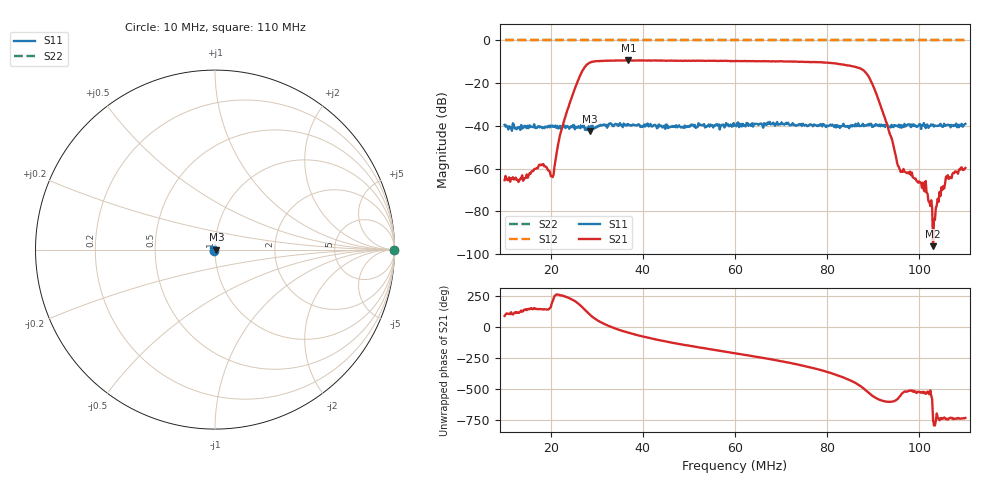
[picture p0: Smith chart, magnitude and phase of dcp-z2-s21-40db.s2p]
! Anritsu VNA Master:  Model: MS2034B/10/19/501
! SN:  1337062
! /bd0/ovro-jan-2016/dcp-z2-s21-40db.s2p
! Existing Calibration Information:
! TYPE:  Current Settings,  Active Cal Settings
! TIME:  01/08/2016 09:27:31 PM,  01/08/2016 08:43:08 PM
! INTERNAL TEMP:  42.5 C,  45.0 C
! # POINTS:  500,  500
! START FREQ:  10.000 MHz,  10.000 MHz
! STOP FREQ:  110.000 MHz,  110.000 MHz
! SOURCE POWER:  Low,  Low
! IFBW:  100 Hz,  100 Hz
! AVG FACTOR:  3 ,  3
! REF PLANE 1:  2.2245 m,  2.2245 m
! REF PLANE 2:  0 mm,  0 mm
! CAL TYPE:  1P2P S11,S21,  1P2P S11,S21
! CAL METHOD:  SOLT,  SOLT
! CAL LINE TYPE:  Coax,  Coax
! DUT PORT 1:  K-Conn(M),  K-Conn(M)
! DUT PORT 2:  N-Conn(M),  N-Conn(M)
! CAL STATUS:  OK: Accuracy High,  --
# GHZ S DB R 50.0
! FREQ.GHZ  S11DB  S11A  S21DB  S21A  S12DB  S12A  S22DB  S22A
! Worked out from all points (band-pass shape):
!   500 points, 10 MHz to 110 MHz, reference 50 ohm
!   highest |S21| = -9.30 dB at 36.85 MHz (marker M1); lowest = -96.3 dB at 103 MHz (marker M2)
!   |S21| within 3 dB of the highest: 27.44 MHz to 86 MHz (58.56 MHz wide, 103 % of centre)
!   lowest |S11| = -42.3 dB at 28.44 MHz (marker M3), VSWR 1.02, Z = 50.8 - j0.027 ohm
!   |S11| at or under -10 dB: start of sweep to end of sweep
!   |S22| runs from 0.0 to 0.0 dB; largest |S21 - S12| = 1.3
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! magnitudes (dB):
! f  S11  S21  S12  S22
! 10 MHz  -39.5  -65.4  0.0  0.0
! 14.41 MHz  -39.9  -64.4  0.0  0.0
! 18.02 MHz  -40.6  -58.1  0.0  0.0
! 20.42 MHz  -39.8  -64.0  0.0  0.0
! 22.42 MHz  -40.1  -41.3  0.0  0.0
! 24.83 MHz  -39.7  -24.9  0.0  0.0
! 26.83 MHz  -40.6  -14.4  0.0  0.0
! 28.44 MHz  -42.3  -10.4  0.0  0.0
! 36.85 MHz  -39.2  -9.3  0.0  0.0
! 43.47 MHz  -39.3  -9.4  0.0  0.0
! 60.1 MHz  -39.6  -9.6  0.0  0.0
! 76.73 MHz  -39.7  -10.1  0.0  0.0
! 87.96 MHz  -40.1  -14.1  0.0  0.0
! 90.16 MHz  -39.8  -22.2  0.0  0.0
! 93.37 MHz  -40.3  -42.1  0.0  0.0
! 95.77 MHz  -40.7  -60.6  0.0  0.0
! 97.98 MHz  -39.3  -61.4  0.0  0.0
! 101.2 MHz  -39.8  -70.7  0.0  0.0
! 103 MHz  -39.4  -96.3  0.0  0.0
! 103.4 MHz  -39.9  -84.0  0.0  0.0
! 106.2 MHz  -39.5  -63.1  0.0  0.0
! 110 MHz  -39.1  -59.7  0.0  0.0
